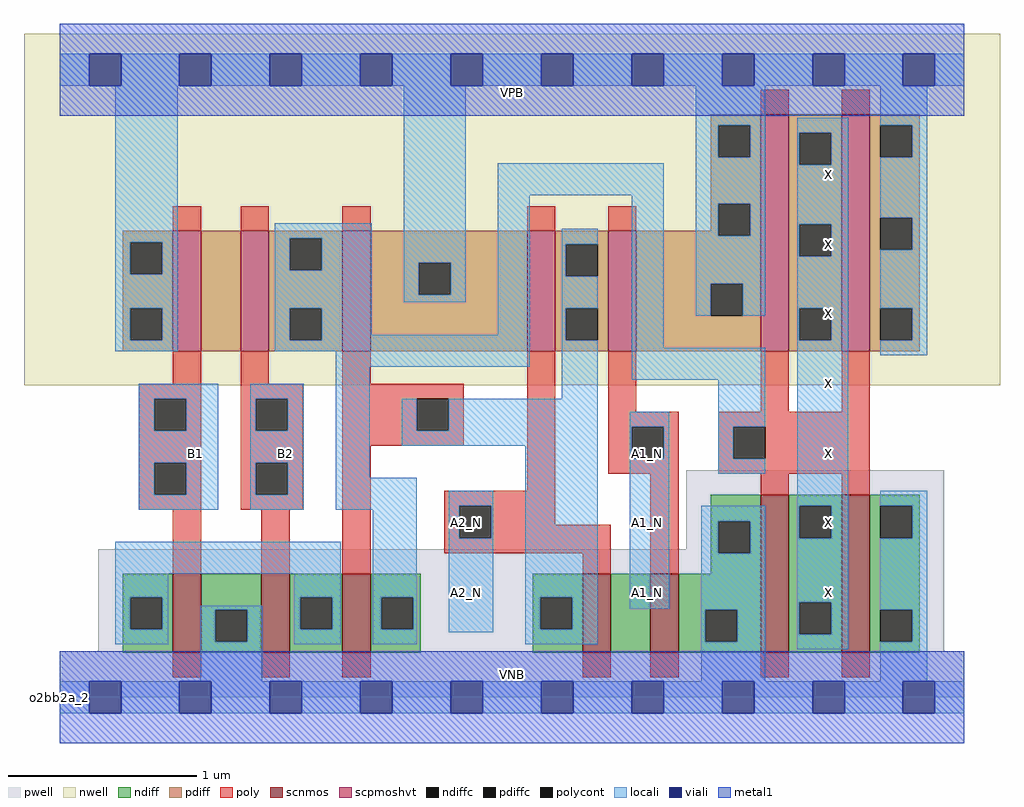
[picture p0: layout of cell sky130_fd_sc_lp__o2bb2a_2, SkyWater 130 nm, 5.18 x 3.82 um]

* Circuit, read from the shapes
.subckt sky130_fd_sc_lp__o2bb2a_2 A1_N A2_N B1 B2 VGND VNB VPB VPWR X
XM1 VGND B1 n1 VNB sky130_fd_pr__nfet_01v8 w=0.42 l=0.15
XM2 n1 B2 VGND VNB sky130_fd_pr__nfet_01v8 w=0.42 l=0.15
XM3 n2 n3 n1 VNB sky130_fd_pr__nfet_01v8 w=0.42 l=0.15
XM4 n4 A2_N n3 VNB sky130_fd_pr__nfet_01v8 w=0.42 l=0.15
XM5 VGND A1_N n4 VNB sky130_fd_pr__nfet_01v8 w=0.42 l=0.15
XM6 X n2 VGND VNB sky130_fd_pr__nfet_01v8 w=0.84 l=0.15 m=2
XM7 n5 B1 VPWR VPB sky130_fd_pr__pfet_01v8_hvt w=0.64 l=0.15
XM8 n2 B2 n5 VPB sky130_fd_pr__pfet_01v8_hvt w=0.64 l=0.15
XM9 VPWR n3 n2 VPB sky130_fd_pr__pfet_01v8_hvt w=0.64 l=0.15
XM10 n3 A2_N VPWR VPB sky130_fd_pr__pfet_01v8_hvt w=0.64 l=0.15
XM11 VPWR A1_N n3 VPB sky130_fd_pr__pfet_01v8_hvt w=0.64 l=0.15
XM12 X n2 VPWR VPB sky130_fd_pr__pfet_01v8_hvt w=1.26 l=0.15 m=2
.ends

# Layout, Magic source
magic
tech sky130A
magscale 1 2
<< nwell >>
rect -38 331 998 704
<< pwell >>
rect 665 157 939 241
rect 41 49 939 157
rect 0 0 960 49
<< scnmos >>
rect 120 47 150 131
rect 214 47 244 131
rect 300 47 330 131
rect 555 47 585 131
rect 627 47 657 131
rect 744 47 774 215
rect 830 47 860 215
<< scpmoshvt >>
rect 120 367 150 495
rect 192 367 222 495
rect 300 367 330 495
rect 496 367 526 495
rect 582 367 612 495
rect 744 367 774 619
rect 830 367 860 619
<< ndiff >>
rect 691 187 744 215
rect 691 153 699 187
rect 733 153 744 187
rect 691 131 744 153
rect 67 106 120 131
rect 67 72 75 106
rect 109 72 120 106
rect 67 47 120 72
rect 150 93 214 131
rect 150 59 165 93
rect 199 59 214 93
rect 150 47 214 59
rect 244 106 300 131
rect 244 72 255 106
rect 289 72 300 106
rect 244 47 300 72
rect 330 106 383 131
rect 330 72 341 106
rect 375 72 383 106
rect 330 47 383 72
rect 502 106 555 131
rect 502 72 510 106
rect 544 72 555 106
rect 502 47 555 72
rect 585 47 627 131
rect 657 93 744 131
rect 657 59 685 93
rect 719 59 744 93
rect 657 47 744 59
rect 774 203 830 215
rect 774 169 785 203
rect 819 169 830 203
rect 774 101 830 169
rect 774 67 785 101
rect 819 67 830 101
rect 774 47 830 67
rect 860 203 913 215
rect 860 169 871 203
rect 905 169 913 203
rect 860 93 913 169
rect 860 59 871 93
rect 905 59 913 93
rect 860 47 913 59
<< pdiff >>
rect 691 607 744 619
rect 691 573 699 607
rect 733 573 744 607
rect 691 524 744 573
rect 691 495 699 524
rect 67 483 120 495
rect 67 449 75 483
rect 109 449 120 483
rect 67 413 120 449
rect 67 379 75 413
rect 109 379 120 413
rect 67 367 120 379
rect 150 367 192 495
rect 222 487 300 495
rect 222 453 244 487
rect 278 453 300 487
rect 222 413 300 453
rect 222 379 244 413
rect 278 379 300 413
rect 222 367 300 379
rect 330 461 496 495
rect 330 427 381 461
rect 415 427 496 461
rect 330 367 496 427
rect 526 481 582 495
rect 526 447 537 481
rect 571 447 582 481
rect 526 413 582 447
rect 526 379 537 413
rect 571 379 582 413
rect 526 367 582 379
rect 612 490 699 495
rect 733 490 744 524
rect 612 439 744 490
rect 612 405 691 439
rect 725 405 744 439
rect 612 367 744 405
rect 774 599 830 619
rect 774 565 785 599
rect 819 565 830 599
rect 774 502 830 565
rect 774 468 785 502
rect 819 468 830 502
rect 774 413 830 468
rect 774 379 785 413
rect 819 379 830 413
rect 774 367 830 379
rect 860 607 913 619
rect 860 573 871 607
rect 905 573 913 607
rect 860 509 913 573
rect 860 475 871 509
rect 905 475 913 509
rect 860 413 913 475
rect 860 379 871 413
rect 905 379 913 413
rect 860 367 913 379
<< ndiffc >>
rect 699 153 733 187
rect 75 72 109 106
rect 165 59 199 93
rect 255 72 289 106
rect 341 72 375 106
rect 510 72 544 106
rect 685 59 719 93
rect 785 169 819 203
rect 785 67 819 101
rect 871 169 905 203
rect 871 59 905 93
<< pdiffc >>
rect 699 573 733 607
rect 75 449 109 483
rect 75 379 109 413
rect 244 453 278 487
rect 244 379 278 413
rect 381 427 415 461
rect 537 447 571 481
rect 537 379 571 413
rect 699 490 733 524
rect 691 405 725 439
rect 785 565 819 599
rect 785 468 819 502
rect 785 379 819 413
rect 871 573 905 607
rect 871 475 905 509
rect 871 379 905 413
<< poly >>
rect 744 619 774 645
rect 830 619 860 645
rect 120 495 150 521
rect 192 495 222 521
rect 300 495 330 521
rect 496 495 526 521
rect 582 495 612 521
rect 120 333 150 367
rect 84 317 150 333
rect 84 283 100 317
rect 134 283 150 317
rect 84 249 150 283
rect 84 215 100 249
rect 134 215 150 249
rect 84 199 150 215
rect 192 333 222 367
rect 300 333 330 367
rect 192 317 258 333
rect 192 283 208 317
rect 242 283 258 317
rect 192 249 258 283
rect 192 215 208 249
rect 242 215 258 249
rect 192 199 258 215
rect 300 317 429 333
rect 300 283 379 317
rect 413 283 429 317
rect 300 267 429 283
rect 120 131 150 199
rect 214 131 244 199
rect 300 131 330 267
rect 496 219 526 367
rect 582 303 612 367
rect 744 303 774 367
rect 830 303 860 367
rect 582 287 657 303
rect 582 253 607 287
rect 641 253 657 287
rect 582 237 657 253
rect 699 287 860 303
rect 699 253 715 287
rect 749 253 860 287
rect 699 237 860 253
rect 408 203 526 219
rect 408 169 424 203
rect 458 183 526 203
rect 458 169 585 183
rect 408 153 585 169
rect 555 131 585 153
rect 627 131 657 237
rect 744 215 774 237
rect 830 215 860 237
rect 120 21 150 47
rect 214 21 244 47
rect 300 21 330 47
rect 555 21 585 47
rect 627 21 657 47
rect 744 21 774 47
rect 830 21 860 47
<< polycont >>
rect 100 283 134 317
rect 100 215 134 249
rect 208 283 242 317
rect 208 215 242 249
rect 379 283 413 317
rect 607 253 641 287
rect 715 253 749 287
rect 424 169 458 203
<< locali >>
rect 0 649 31 683
rect 65 649 127 683
rect 161 649 223 683
rect 257 649 319 683
rect 353 649 415 683
rect 449 649 511 683
rect 545 649 607 683
rect 641 649 703 683
rect 737 649 799 683
rect 833 649 895 683
rect 929 649 960 683
rect 59 483 125 649
rect 59 449 75 483
rect 109 449 125 483
rect 59 413 125 449
rect 59 379 75 413
rect 109 379 125 413
rect 59 367 125 379
rect 228 487 331 503
rect 228 453 244 487
rect 278 453 331 487
rect 228 413 331 453
rect 365 461 431 649
rect 675 607 749 649
rect 675 573 699 607
rect 733 573 749 607
rect 365 427 381 461
rect 415 427 431 461
rect 365 419 431 427
rect 465 533 641 567
rect 228 379 244 413
rect 278 385 331 413
rect 465 385 499 533
rect 278 379 499 385
rect 228 367 499 379
rect 293 351 499 367
rect 533 481 571 497
rect 533 447 537 481
rect 533 413 571 447
rect 533 379 537 413
rect 84 317 168 333
rect 84 283 100 317
rect 134 283 168 317
rect 84 249 168 283
rect 84 215 100 249
rect 134 215 168 249
rect 84 199 168 215
rect 202 317 259 333
rect 202 283 208 317
rect 242 283 259 317
rect 202 249 259 283
rect 202 215 208 249
rect 242 215 259 249
rect 202 199 259 215
rect 293 233 329 351
rect 533 317 571 379
rect 607 371 641 533
rect 675 524 749 573
rect 675 490 699 524
rect 733 490 749 524
rect 675 439 749 490
rect 675 405 691 439
rect 725 405 749 439
rect 783 599 837 615
rect 783 565 785 599
rect 819 565 837 599
rect 783 502 837 565
rect 783 468 785 502
rect 819 468 837 502
rect 783 413 837 468
rect 783 379 785 413
rect 819 379 837 413
rect 607 337 749 371
rect 363 283 379 317
rect 413 283 571 317
rect 363 267 571 283
rect 293 199 379 233
rect 59 131 298 165
rect 59 106 115 131
rect 59 72 75 106
rect 109 72 115 106
rect 249 106 298 131
rect 59 56 115 72
rect 149 93 215 97
rect 149 59 165 93
rect 199 59 215 93
rect 149 17 215 59
rect 249 72 255 106
rect 289 72 298 106
rect 249 56 298 72
rect 332 106 379 199
rect 332 72 341 106
rect 375 72 379 106
rect 332 56 379 72
rect 413 203 460 219
rect 413 169 424 203
rect 458 169 460 203
rect 413 69 460 169
rect 494 106 571 267
rect 494 72 510 106
rect 544 72 571 106
rect 605 287 647 303
rect 605 253 607 287
rect 641 253 647 287
rect 605 94 647 253
rect 699 287 749 337
rect 699 253 715 287
rect 699 237 749 253
rect 783 203 837 379
rect 871 607 921 649
rect 905 573 921 607
rect 871 509 921 573
rect 905 475 921 509
rect 871 413 921 475
rect 905 379 921 413
rect 871 363 921 379
rect 681 187 749 203
rect 681 153 699 187
rect 733 153 749 187
rect 494 56 571 72
rect 681 93 749 153
rect 681 59 685 93
rect 719 59 749 93
rect 681 17 749 59
rect 783 169 785 203
rect 819 169 837 203
rect 783 101 837 169
rect 783 67 785 101
rect 819 67 837 101
rect 783 51 837 67
rect 871 203 921 219
rect 905 169 921 203
rect 871 93 921 169
rect 905 59 921 93
rect 871 17 921 59
rect 0 -17 31 17
rect 65 -17 127 17
rect 161 -17 223 17
rect 257 -17 319 17
rect 353 -17 415 17
rect 449 -17 511 17
rect 545 -17 607 17
rect 641 -17 703 17
rect 737 -17 799 17
rect 833 -17 895 17
rect 929 -17 960 17
<< viali >>
rect 31 649 65 683
rect 127 649 161 683
rect 223 649 257 683
rect 319 649 353 683
rect 415 649 449 683
rect 511 649 545 683
rect 607 649 641 683
rect 703 649 737 683
rect 799 649 833 683
rect 895 649 929 683
rect 31 -17 65 17
rect 127 -17 161 17
rect 223 -17 257 17
rect 319 -17 353 17
rect 415 -17 449 17
rect 511 -17 545 17
rect 607 -17 641 17
rect 703 -17 737 17
rect 799 -17 833 17
rect 895 -17 929 17
<< metal1 >>
rect 0 683 960 715
rect 0 649 31 683
rect 65 649 127 683
rect 161 649 223 683
rect 257 649 319 683
rect 353 649 415 683
rect 449 649 511 683
rect 545 649 607 683
rect 641 649 703 683
rect 737 649 799 683
rect 833 649 895 683
rect 929 649 960 683
rect 0 617 960 649
rect 0 17 960 49
rect 0 -17 31 17
rect 65 -17 127 17
rect 161 -17 223 17
rect 257 -17 319 17
rect 353 -17 415 17
rect 449 -17 511 17
rect 545 -17 607 17
rect 641 -17 703 17
rect 737 -17 799 17
rect 833 -17 895 17
rect 929 -17 960 17
rect 0 -49 960 -17
<< labels >>
flabel pwell s 0 0 960 49 0 FreeSans 200 0 0 0 VNB
port 6 nsew ground bidirectional
flabel nwell s 0 617 960 666 0 FreeSans 200 0 0 0 VPB
port 7 nsew power bidirectional
rlabel comment s 0 0 0 0 4 o2bb2a_2
flabel metal1 s 0 617 960 666 0 FreeSans 340 0 0 0 VPWR
port 8 nsew power bidirectional
flabel metal1 s 0 0 960 49 0 FreeSans 340 0 0 0 VGND
port 5 nsew ground bidirectional
flabel locali s 799 94 833 128 0 FreeSans 340 0 0 0 X
port 9 nsew signal output
flabel locali s 799 168 833 202 0 FreeSans 340 0 0 0 X
port 9 nsew signal output
flabel locali s 799 242 833 276 0 FreeSans 340 0 0 0 X
port 9 nsew signal output
flabel locali s 799 316 833 350 0 FreeSans 340 0 0 0 X
port 9 nsew signal output
flabel locali s 799 390 833 424 0 FreeSans 340 0 0 0 X
port 9 nsew signal output
flabel locali s 799 464 833 498 0 FreeSans 340 0 0 0 X
port 9 nsew signal output
flabel locali s 799 538 833 572 0 FreeSans 340 0 0 0 X
port 9 nsew signal output
flabel locali s 607 94 641 128 0 FreeSans 340 0 0 0 A1_N
port 1 nsew signal input
flabel locali s 607 168 641 202 0 FreeSans 340 0 0 0 A1_N
port 1 nsew signal input
flabel locali s 607 242 641 276 0 FreeSans 340 0 0 0 A1_N
port 1 nsew signal input
flabel locali s 127 242 161 276 0 FreeSans 340 0 0 0 B1
port 3 nsew signal input
flabel locali s 223 242 257 276 0 FreeSans 340 0 0 0 B2
port 4 nsew signal input
flabel locali s 415 94 449 128 0 FreeSans 340 0 0 0 A2_N
port 2 nsew signal input
flabel locali s 415 168 449 202 0 FreeSans 340 0 0 0 A2_N
port 2 nsew signal input
<< properties >>
string LEFsite unit
string LEFclass CORE
string FIXED_BBOX 0 0 960 666
string GDS_FILE $PDKPATH/libs.ref/sky130_fd_sc_lp/gds/sky130_fd_sc_lp.gds
string LEFsymmetry X Y R90
string GDS_END 3658750
string GDS_START 3650114
<< end >>
